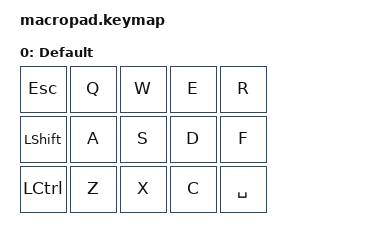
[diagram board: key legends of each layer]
#include <behaviors.dtsi>
#include <dt-bindings/zmk/keys.h>

/ {
    behaviors {
        gaming_active: gaming_active {
            compatible = "zmk,behavior-tap-dance";
            label = "GAMING_ACTIVE";
            #binding-cells = <0>;
            bindings = <&kp Q>, <&kp Q>, <&to 0>;
        };

        gaming_deactive: gaming_deactive {
            compatible = "zmk,behavior-tap-dance";
            label = "GAMING_DEACTIVE";
            #binding-cells = <0>;
            bindings = <&kp RIGHT_SHIFT>, <&to 0>;
        };

        hm: homerow_mods {
            compatible = "zmk,behavior-hold-tap";
            label = "HOMEROW_MODS";
            bindings = <&kp>, <&kp>;

            #binding-cells = <2>;
            tapping-term-ms = <150>;
            flavor = "tap-preferred";
        };

        hl: homerow_layer {
            compatible = "zmk,behavior-hold-tap";
            label = "HOMEROW_LAYER";
            bindings = <&mo>, <&kp>;

            #binding-cells = <2>;
            tapping-term-ms = <150>;
            flavor = "tap-preferred";
        };
    };

    macros {
        vim___0: vim___0 {
            compatible = "zmk,behavior-macro";
            #binding-cells = <0>;
            bindings = <&kp END &kp ENTER>;
            label = "vim___0";
        };

        vim___w: vim___w {
            compatible = "zmk,behavior-macro";
            #binding-cells = <0>;
            bindings = <&none>;
            label = "VIM___W";
        };
    };

    keymap {
        compatible = "zmk,keymap";
        label = "macropad-3x5";

        default_layer {
            label = "Default";
            bindings = <
&kp ESC    &kp Q  &kp W  &kp E  &kp R
&kp LSHFT  &kp A  &kp S  &kp D  &kp F
&kp LCTRL  &kp Z  &kp X  &kp C  &kp SPACE
            >;
        };
    };
};

